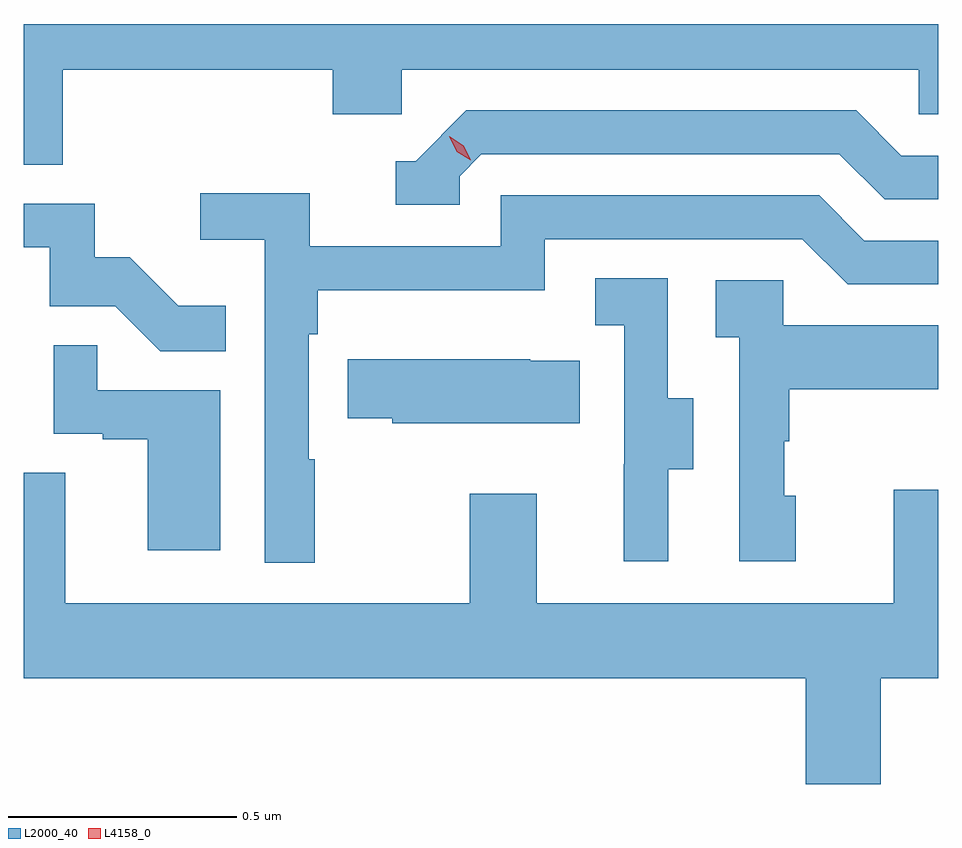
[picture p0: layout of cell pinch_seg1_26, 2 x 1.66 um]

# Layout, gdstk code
import gdstk
lib = gdstk.Library(unit=1e-6, precision=1e-09)
def P(c, l, *ps):  # polygons
    for p in ps: c.add(gdstk.Polygon(p, *l))
L2000_40 = (2000, 40)
L4158_0 = (4158, 0)

pinch_seg1_26 = lib.new_cell('pinch_seg1_26')
P(pinch_seg1_26, L2000_40, [(1121.312,583.7),(1121.903,583.7),(1121.903,583.602),(1122.054,583.602),(1122.054,583.7),(1123.185,583.7),(1123.185,583.602),(1123.227,583.602),(1123.227,583.8),(1121.227,583.8),(1121.227,583.492),(1121.312,583.492)],
  [(1122.18,583.467),(1122.228,583.515),(1123.011,583.515),(1123.11,583.416),(1123.227,583.416),(1123.227,583.512),(1123.147,583.512),(1123.048,583.611),(1122.195,583.611),(1122.084,583.5),(1122.041,583.5),(1122.041,583.404),(1122.18,583.404)],
  [(1121.863,582.848),(1121.85,582.848),(1121.85,583.121),(1121.87,583.121),(1121.87,583.217),(1122.366,583.217),(1122.366,583.329),(1122.93,583.329),(1123.029,583.23),(1123.227,583.23),(1123.227,583.326),(1123.066,583.326),(1122.967,583.425),(1122.27,583.425),(1122.27,583.314),(1121.852,583.314),(1121.852,583.43),(1121.613,583.43),(1121.613,583.328),(1121.754,583.328),(1121.754,582.621),(1121.863,582.621)],
  [(1121.669,583.183),(1121.565,583.183),(1121.458,583.29),(1121.382,583.29),(1121.382,583.407),(1121.227,583.407),(1121.227,583.311),(1121.283,583.311),(1121.283,583.182),(1121.427,583.182),(1121.525,583.084),(1121.669,583.084)],
  [(1122.637,582.826),(1122.691,582.826),(1122.691,582.981),(1122.636,582.981),(1122.636,583.244),(1122.477,583.244),(1122.477,583.141),(1122.54,583.141),(1122.54,582.837),(1122.539,582.837),(1122.539,582.624),(1122.637,582.624)],
  [(1122.916,582.768),(1122.891,582.768),(1122.891,582.887),(1122.901,582.887),(1122.901,583.001),(1123.227,583.001),(1123.227,583.141),(1122.888,583.141),(1122.888,583.239),(1122.741,583.239),(1122.741,583.115),(1122.792,583.115),(1122.792,582.624),(1122.916,582.624)],
  [(1121.656,582.999),(1121.387,582.999),(1121.387,583.097),(1121.292,583.097),(1121.292,582.903),(1121.399,582.903),(1121.399,582.891),(1121.498,582.891),(1121.498,582.648),(1121.656,582.648)],
  [(1122.443,583.063),(1122.335,583.063),(1122.335,583.066),(1121.935,583.066),(1121.935,582.937),(1122.033,582.937),(1122.033,582.926),(1122.443,582.926)],
  [(1123.102,582.368),(1123.227,582.368),(1123.227,582.781),(1123.13,582.781),(1123.13,582.532),(1122.349,582.532),(1122.349,582.772),(1122.202,582.772),(1122.202,582.532),(1121.317,582.532),(1121.317,582.818),(1121.227,582.818),(1121.227,582.368),(1122.938,582.368),(1122.938,582.137),(1123.102,582.137)])
P(pinch_seg1_26, L4158_0, [(1122.205,583.502),(1122.174,583.521),(1122.158,583.553),(1122.158,583.554),(1122.158,583.554),(1122.189,583.534),(1122.205,583.502),(1122.205,583.502)])

lib.write_gds('pinch_seg1_26.gds')
